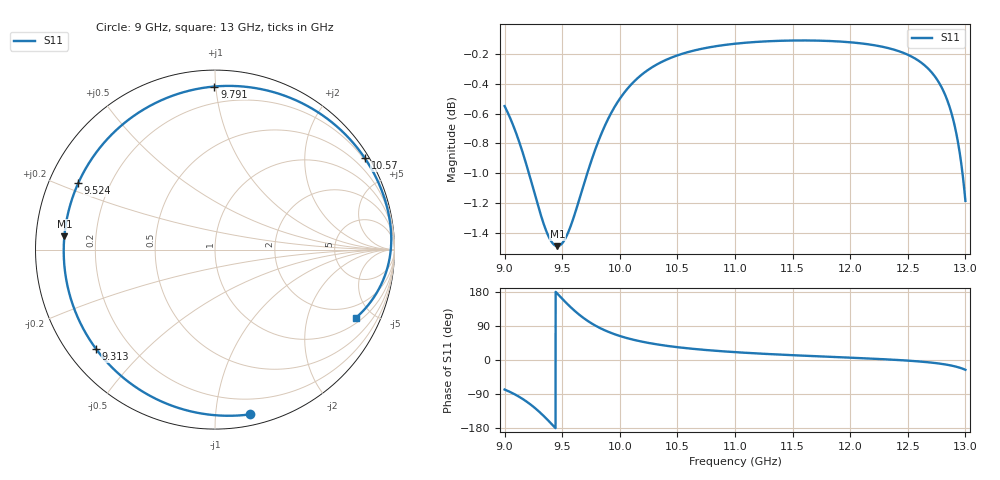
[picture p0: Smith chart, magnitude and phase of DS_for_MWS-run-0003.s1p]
! TOUCHSTONE file generated by CST DESIGN STUDIO
! Date and time: Tue Feb  4 17:27:09 2025
! Project name: C:\Work\MatlabApps\UnitCellOptimizationMatlab\CST\unitcell.cst
! Tree item: Tasks\Sweep1\SPara1\S-Parameters
! Header version: 2024
! Port assignment regex: !\s*Touchstone port\s*([0-9]+)\s*=\s*(CST MWS port|CST DES external port|CST DES block port)\s*(.+)\s* \(\"(.*)\"\)(\s*mode\s*([0-9]+))?.*
! Touchstone port assignment:
! Touchstone port 1 = CST DES external port 1 ("")
# GHz S MA R 50
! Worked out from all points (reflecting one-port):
!   4001 points, 9 GHz to 13 GHz, reference 50 ohm
!   lowest |S11| = -1.5 dB at 9.458 GHz (marker M1), VSWR 11.71, Z = 4.28 + j2.17 ohm
!   phase of S11 starts at -78 deg and turns -308 deg over the sweep
!   S11 on the Smith chart (normalised r, x): 9 GHz: 0.08, -1.23; 9.313 GHz: 0.08, -0.36; 9.524 GHz: 0.09, +0.23; 9.791 GHz: 0.10, +0.99; 10.57 GHz: 0.15, +3.56; 13 GHz: 1.25, -3.99
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9  0.9386 -77.9
9.097  0.92 -92.0
9.175  0.901 -106.4
9.246  0.8815 -122.4
9.313  0.8635 -140.1
9.389  0.8479 -162.9
9.458  0.8426 175.0
9.5  0.8445 161.6
9.524  0.8472 154.1
9.588  0.8589 135.2
9.651  0.8742 118.8
9.717  0.8911 104.0
9.791  0.9087 90.2
9.893  0.9285 75.3
10  0.944 63.4
10.102  0.9547 54.6
10.216  0.9634 47.0
10.347  0.9704 40.1
10.5  0.9761 33.8
10.574  0.9781 31.3
11  0.9849 20.7
11.5  0.9873 12.7
12  0.986 6.1
12.5  0.9766 -1.6
12.684  0.9655 -6.2
12.826  0.9465 -11.7
12.919  0.92 -17.6
13  0.8726 -25.8
